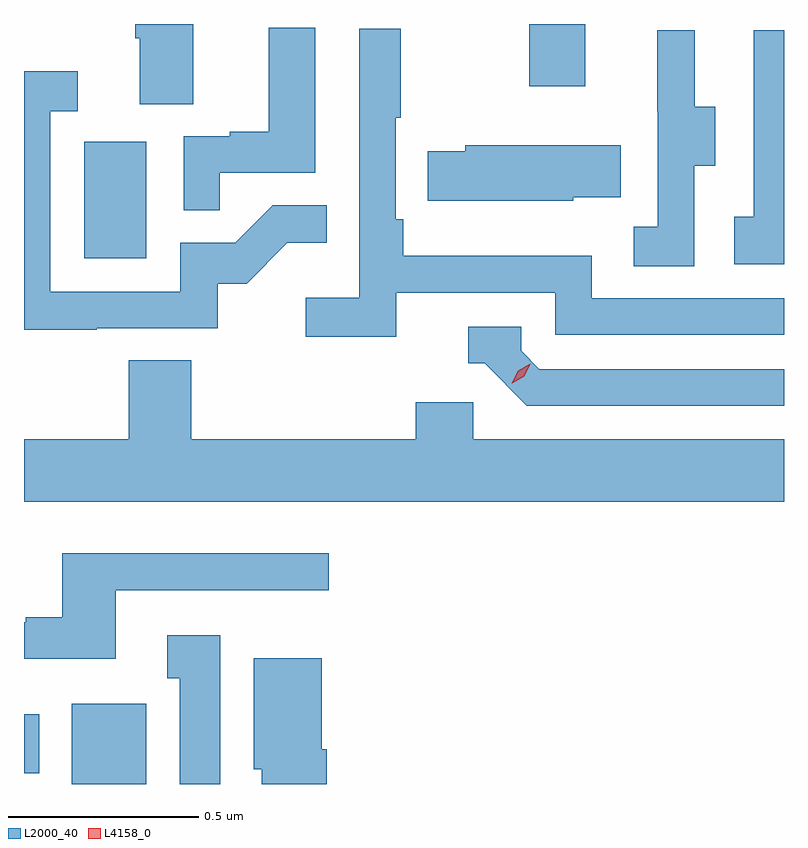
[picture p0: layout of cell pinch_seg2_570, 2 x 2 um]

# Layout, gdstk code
import gdstk
lib = gdstk.Library(unit=1e-6, precision=1e-09)
def R(c, l, rs):  # rectangles x0, y0, x1, y1
    for r in rs: c.add(gdstk.rectangle(r[:2], r[2:], *l))
def P(c, l, *ps):  # polygons
    for p in ps: c.add(gdstk.Polygon(p, *l))
L2000_40 = (2000, 40)
L4158_0 = (4158, 0)

pinch_seg2_570 = lib.new_cell('pinch_seg2_570')
R(pinch_seg2_570, L2000_40, [(1090.583,614.925,1090.78,615.136), (1090.458,614.953,1090.498,615.109), (1090.616,616.308,1090.78,616.615), (1091.788,616.761,1091.935,616.925)])
P(pinch_seg2_570, L2000_40, [(1090.903,616.925),(1090.751,616.925),(1090.751,616.888),(1090.763,616.888),(1090.763,616.714),(1090.903,616.714)],
  [(1090.973,616.533),(1091.224,616.533),(1091.224,616.915),(1091.102,616.915),(1091.102,616.642),(1090.999,616.642),(1090.999,616.629),(1090.878,616.629),(1090.878,616.435),(1090.973,616.435)],
  [(1091.438,616.218),(1091.856,616.218),(1091.856,616.107),(1092.458,616.107),(1092.458,616.203),(1091.952,616.203),(1091.952,616.315),(1091.456,616.315),(1091.456,616.411),(1091.436,616.411),(1091.436,616.678),(1091.449,616.678),(1091.449,616.912),(1091.34,616.912),(1091.34,616.204),(1091.199,616.204),(1091.199,616.102),(1091.438,616.102)],
  [(1092.222,616.552),(1092.277,616.552),(1092.277,616.707),(1092.223,616.707),(1092.223,616.909),(1092.125,616.909),(1092.125,616.695),(1092.126,616.695),(1092.126,616.391),(1092.063,616.391),(1092.063,616.288),(1092.222,616.288)],
  [(1092.458,616.909),(1092.378,616.909),(1092.378,616.418),(1092.327,616.418),(1092.327,616.293),(1092.458,616.293)],
  [(1090.649,616.125),(1090.968,616.125),(1090.968,616.242),(1091.044,616.242),(1091.151,616.349),(1091.255,616.349),(1091.255,616.448),(1091.112,616.448),(1091.014,616.35),(1090.869,616.35),(1090.869,616.221),(1090.527,616.221),(1090.527,616.695),(1090.6,616.695),(1090.6,616.801),(1090.458,616.801),(1090.458,616.12),(1090.649,616.12)],
  [(1091.904,616.469),(1092.029,616.469),(1092.029,616.606),(1091.619,616.606),(1091.619,616.59),(1091.521,616.59),(1091.521,616.46),(1091.904,616.46)],
  [(1092.458,616.017),(1091.814,616.017),(1091.766,616.065),(1091.766,616.128),(1091.627,616.128),(1091.627,616.032),(1091.67,616.032),(1091.781,615.921),(1092.458,615.921)],
  [(1092.458,615.832),(1091.64,615.832),(1091.64,615.93),(1091.489,615.93),(1091.489,615.832),(1090.898,615.832),(1090.898,616.04),(1090.733,616.04),(1090.733,615.832),(1090.458,615.832),(1090.458,615.668),(1092.458,615.668)],
  [(1090.699,615.435),(1091.26,615.435),(1091.26,615.532),(1090.559,615.532),(1090.559,615.364),(1090.463,615.364),(1090.463,615.351),(1090.458,615.351),(1090.458,615.254),(1090.699,615.254)],
  [(1090.975,615.316),(1090.835,615.316),(1090.835,615.203),(1090.868,615.203),(1090.868,614.925),(1090.975,614.925)],
  [(1091.255,615.016),(1091.242,615.016),(1091.242,615.256),(1091.063,615.256),(1091.063,614.964),(1091.084,614.964),(1091.084,614.925),(1091.255,614.925)])
P(pinch_seg2_570, L4158_0, [(1091.742,615.98),(1091.742,615.98),(1091.759,616.012),(1091.79,616.031),(1091.79,616.031),(1091.79,616.031),(1091.774,615.998),(1091.743,615.98)])

lib.write_gds('pinch_seg2_570.gds')
